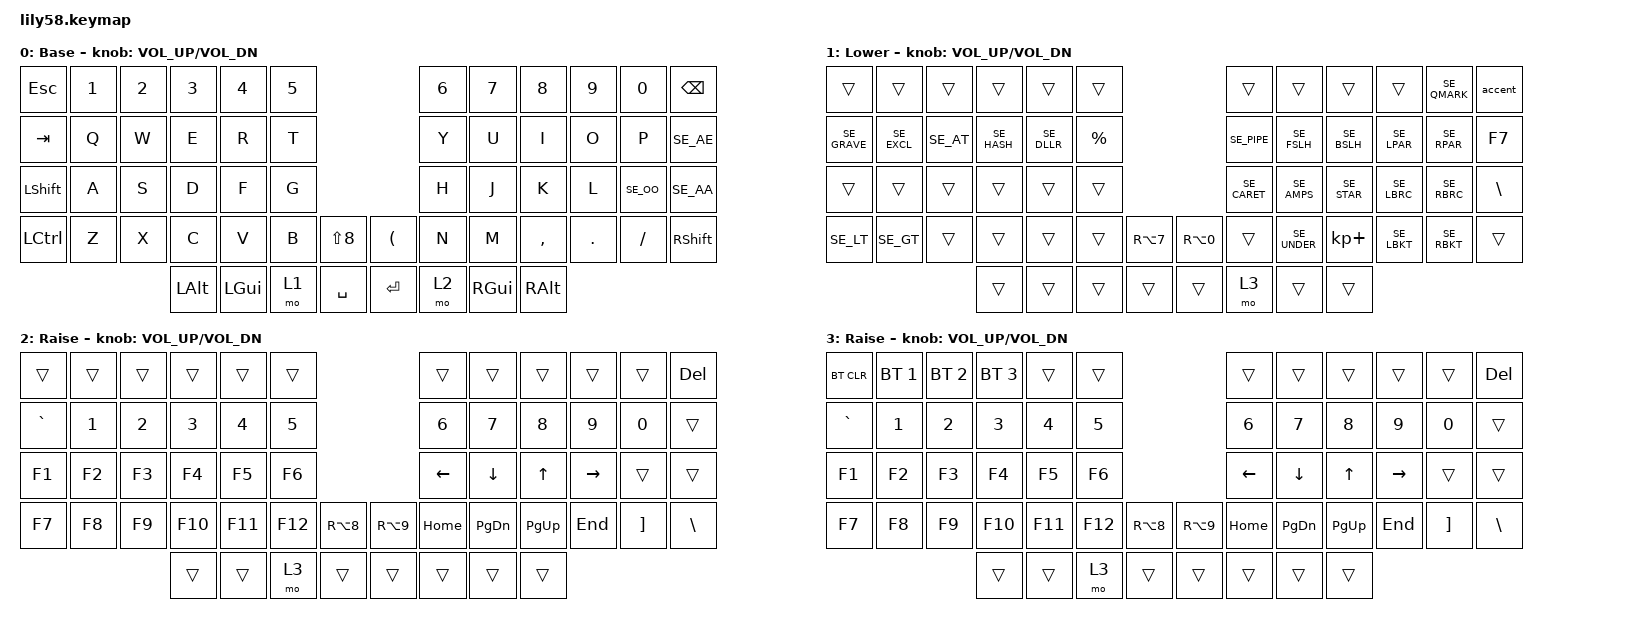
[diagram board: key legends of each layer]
/*
 * Copyright (c) 2020 The ZMK Contributors
 *
 * SPDX-License-Identifier: MIT
 */

#include <behaviors.dtsi>
#include <dt-bindings/zmk/keys.h>
#include <dt-bindings/zmk/bt.h>
#include <dt-bindings/zmk/ext_power.h>
#include "swe_keys.h"

#define THIRD 3

/ {
    macros {
        accent: accent {
            compatible = "zmk,behavior-macro";
            #binding-cells = <0>;
            bindings
                = <&macro_tap &kp LS(EQUAL) &kp LS(EQUAL)>
                ;
        };
    };
    keymap {
        compatible = "zmk,keymap";

        default_layer {
// ------------------------------------------------------------------------------------------------------------
// |  ESC  |  1  |  2  |  3   |  4   |  5   |                   |  6   |  7    |  8    |  9   |   0   | BSPC  |
// |  TAB  |  Q  |  W  |  E   |  R   |  T   |                   |  Y   |  U    |  I    |  O   |   P   |   Å   |
// | SHIFT |  A  |  S  |  D   |  F   |  G   |                   |  H   |  J    |  K    |  L   |   Ö   |   Ä   |
// |  CTRL |  Z  |  X  |  C   |  V   |  B   |   "["  |  |  "]"  |  N   |  M    |  ,    |  .   |   /   | SHIFT |
//                     | ALT  | GUI  | LOWER|  SPACE |  | ENTER | RAISE| GUI   | ALT   |
            display-name = "Base";
            bindings = <
&kp ESC   &kp N1 &kp N2 &kp N3   &kp N4   &kp N5                     &kp N6 &kp N7   &kp N8    &kp N9  &kp N0   &kp BSPC
&kp TAB   &kp Q  &kp W  &kp E    &kp R    &kp T                      &kp Y  &kp U    &kp I     &kp O   &kp P    &kp SE_AE
&kp LSHFT &kp A  &kp S  &kp D    &kp F    &kp G                      &kp H  &kp J    &kp K     &kp L   &kp SE_OO &kp SE_AA
&kp LCTRL &kp Z  &kp X  &kp C    &kp V    &kp B  &kp LS(N8) &kp LPAR &kp N  &kp M    &kp COMMA &kp DOT &kp FSLH &kp RSHFT
                        &kp LALT &kp LGUI &mo 1  &kp SPACE  &kp RET  &mo 2  &kp RGUI &kp RALT
            >;

            sensor-bindings = <&inc_dec_kp C_VOL_UP C_VOL_DN>;
        };

        lower_layer {
// ------------------------------------------------------------------------------------------------------------
// |       |     |     |      |      |      |                   |      |       |       |      |   ?   |   `   |
// |   `   |  !  |  "  |  #   |  $   |  %   |                   | "|"  |   /   |   \   |  (   |   )   |   ~   |
// |       |     |     |      |      |      |                   |  ^   |  &    |  *    |  {   |   }   |   '   |
// |   <   |  >  |     |      |      |      |  alt+7 |  | alt+0 |      |  _    |  +    |  [   |   ]   |       |
//                     |      |      |      |  SPACE |  | ENTER |      |       |       |
            display-name = "Lower";
            bindings = <
&trans       &trans      &trans    &trans      &trans        &trans                       &trans       &trans       &trans      &trans      &kp SE_QMARK &accent
&kp SE_GRAVE &kp SE_EXCL &kp SE_AT &kp SE_HASH &kp SE_DLLR &kp PRCNT                    &kp SE_PIPE  &kp SE_FSLH  &kp SE_BSLH &kp SE_LPAR &kp SE_RPAR  &kp F7
&trans       &trans      &trans    &trans      &trans        &trans                       &kp SE_CARET &kp SE_AMPS  &kp SE_STAR &kp SE_LBRC &kp SE_RBRC  &kp BSLH
&kp SE_LT    &kp SE_GT   &trans    &trans      &trans        &trans &kp RA(N7) &kp RA(N0) &trans       &kp SE_UNDER &kp KP_PLUS &kp SE_LBKT &kp SE_RBKT  &trans
                                   &trans      &trans        &trans &trans     &trans     &mo 3       &trans       &trans
            >;

            sensor-bindings = <&inc_dec_kp C_VOL_UP C_VOL_DN>;
        };

        raise_layer {
// ------------------------------------------------------------------------------------------------------------
// |       |     |     |      |      |      |                   |      |       |       |      |       |  DEL  |
// |   `   |  1  |  2  |  3   |  4   |  5   |                   |  6   |   7   |   8   |  9   |   0   |       |
// |   F1  |  F2 |  F3 |  F4  |  F5  |  F6  |                   |  <-  |   v   |   ^   |  ->  |       |       |
// |   F7  |  F8 |  F9 |  F10 |  F11 |  F12 |  alt+8 |  | alt+9 | HOME | PGDN  | PGUP  | END  |       |       |
//                     |      |      |      |        |  |       |      |       |       |
            display-name = "Raise";
            bindings = <
&trans    &trans &trans &trans  &trans  &trans                       &trans      &trans    &trans    &trans   &trans    &kp DEL
&kp GRAVE &kp N1 &kp N2 &kp N3  &kp N4  &kp N5                       &kp N6      &kp N7    &kp N8    &kp N9   &kp N0    &trans
&kp F1    &kp F2 &kp F3 &kp F4  &kp F5  &kp F6                       &kp LEFT    &kp DOWN  &kp UP    &kp RIGHT &trans   &trans
&kp F7    &kp F8 &kp F9 &kp F10 &kp F11 &kp F12 &kp RA(N8) &kp RA(N9) &kp HOME &kp PG_DN &kp PG_UP &kp END &kp RBKT  &kp BSLH
                        &trans  &trans  &mo 3    &trans   &trans    &trans      &trans    &trans
            >;

            sensor-bindings = <&inc_dec_kp C_VOL_UP C_VOL_DN>;
        };

        third_layer {
// ------------------------------------------------------------------------------------------------------------
// | bt clr | bt 1 | bt 2 | bt 3 |      |      |                   |      |       |       |      |       |  DEL  |
// |   `   |  1  |  2  |  3   |  4   |  5   |                   |  6   |   7   |   8   |  9   |   0   |       |
// |   F1  |  F2 |  F3 |  F4  |  F5  |  F6  |                   |  <-  |   v   |   ^   |  ->  |       |       |
// |   F7  |  F8 |  F9 |  F10 |  F11 |  F12 |  alt+8 |  | alt+9 | HOME | PGDN  | PGUP  | END  |       |       |
//                     |      |      |      |        |  |       |      |       |       |
            display-name = "Raise";
            bindings = <
&bt BT_CLR &bt BT_SEL 1 &bt BT_SEL 2 &bt BT_SEL 3  &trans  &trans                       &trans      &trans    &trans    &trans   &trans    &kp DEL
&kp GRAVE &kp N1 &kp N2 &kp N3  &kp N4  &kp N5                       &kp N6      &kp N7    &kp N8    &kp N9   &kp N0    &trans
&kp F1    &kp F2 &kp F3 &kp F4  &kp F5  &kp F6                       &kp LEFT    &kp DOWN  &kp UP    &kp RIGHT &trans   &trans
&kp F7    &kp F8 &kp F9 &kp F10 &kp F11 &kp F12 &kp RA(N8) &kp RA(N9) &kp HOME &kp PG_DN &kp PG_UP &kp END &kp RBKT  &kp BSLH
                        &trans  &trans  &mo 3    &trans   &trans    &trans      &trans    &trans
            >;

            sensor-bindings = <&inc_dec_kp C_VOL_UP C_VOL_DN>;
        };

        extra_1 {
            status = "reserved";
        };

        extra_2 {
            status = "reserved";
        };

        extra_3 {
            status = "reserved";
        };
    };
};
